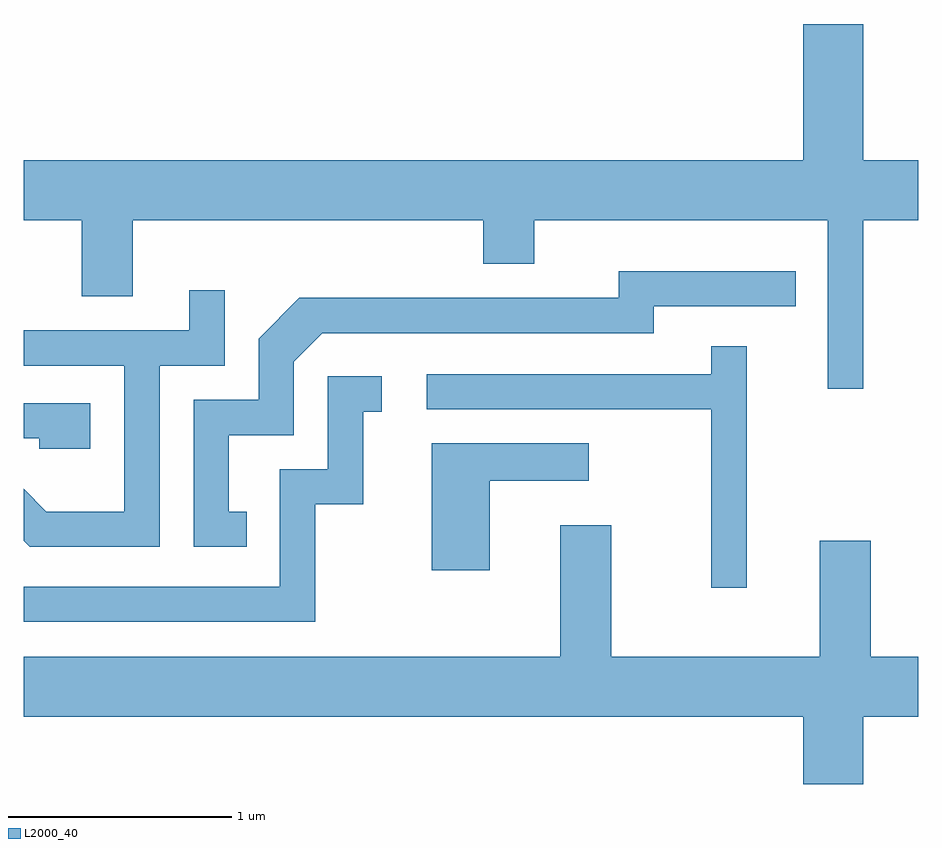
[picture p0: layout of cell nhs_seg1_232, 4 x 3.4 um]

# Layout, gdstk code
import gdstk
lib = gdstk.Library(unit=1e-6, precision=1e-09)
def P(c, l, *ps):  # polygons
    for p in ps: c.add(gdstk.Polygon(p, *l))
L2000_40 = (2000, 40)

nhs_seg1_232 = lib.new_cell('nhs_seg1_232')
P(nhs_seg1_232, L2000_40, [(195.364,910.676),(195.611,910.676),(195.611,910.944),(195.364,910.944),(195.364,911.554),(195.096,911.554),(195.096,910.944),(191.611,910.944),(191.611,910.676),(191.871,910.676),(191.871,910.336),(192.099,910.336),(192.099,910.676),(193.666,910.676),(193.666,910.481),(193.894,910.481),(193.894,910.676),(195.206,910.676),(195.206,909.923),(195.364,909.923)],
  [(192.608,909.374),(192.529,909.374),(192.529,909.716),(192.819,909.716),(192.819,910.044),(192.947,910.171),(194.429,910.171),(194.429,910.291),(195.063,910.291),(195.063,910.449),(194.271,910.449),(194.271,910.329),(192.844,910.329),(192.661,910.147),(192.661,909.874),(192.371,909.874),(192.371,909.216),(192.608,909.216)],
  [(192.219,910.026),(192.509,910.026),(192.509,910.363),(192.351,910.363),(192.351,910.184),(191.611,910.184),(191.611,910.026),(192.061,910.026),(192.061,909.374),(191.712,909.374),(191.611,909.475),(191.611,909.244),(191.639,909.216),(192.219,909.216)],
  [(194.844,910.113),(194.686,910.113),(194.686,909.989),(193.413,909.989),(193.413,909.831),(194.686,909.831),(194.686,909.033),(194.844,909.033)],
  [(192.914,909.406),(193.129,909.406),(193.129,909.821),(193.213,909.821),(193.213,909.979),(192.971,909.979),(192.971,909.564),(192.756,909.564),(192.756,909.039),(191.611,909.039),(191.611,908.881),(192.914,908.881)],
  [(191.909,909.859),(191.611,909.859),(191.611,909.701),(191.681,909.701),(191.681,909.656),(191.909,909.656)],
  [(193.694,909.511),(194.138,909.511),(194.138,909.679),(193.436,909.679),(193.436,909.111),(193.694,909.111)],
  [(195.364,908.456),(195.611,908.456),(195.611,908.724),(195.399,908.724),(195.399,909.244),(195.171,909.244),(195.171,908.724),(194.239,908.724),(194.239,909.314),(194.011,909.314),(194.011,908.724),(191.611,908.724),(191.611,908.456),(195.096,908.456),(195.096,908.156),(195.364,908.156)])

lib.write_gds('nhs_seg1_232.gds')
